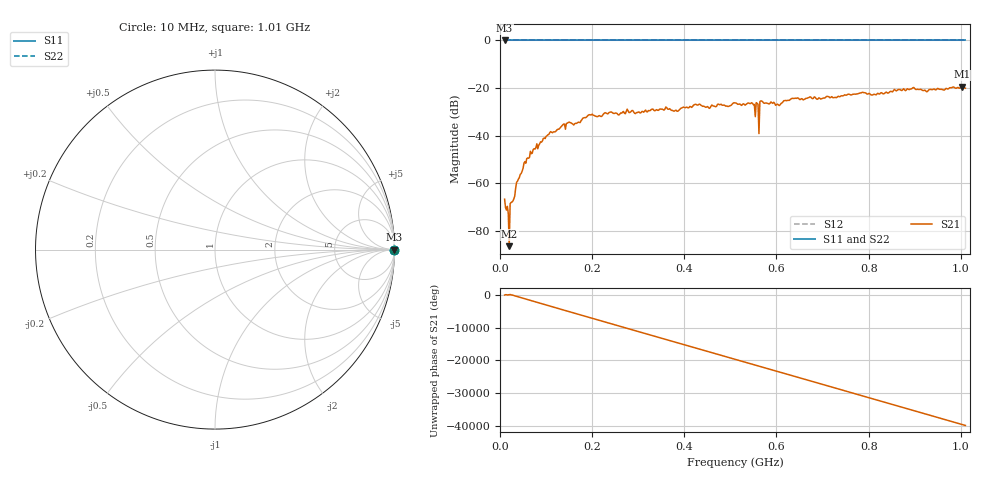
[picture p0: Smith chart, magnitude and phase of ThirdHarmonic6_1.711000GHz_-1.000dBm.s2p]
! 8/16/2025 8:35:03 PM
! C:\ANRITSUVNA\TEMP\TEMP.S2P
! CHANNEL.1
! TR.MEASUREMENT
! RAW.DATA
! RF.CORRECTION.OFF
! AVERAGING.OFF
! IF.BANDWIDTH: 5KHZ
! SWEEPTYPE:  FREQ.SWEEP(Linear)
! Reference Plane Port Info
! PORT:  PORT1  PORT2
! DISTANCE:  0  m  0  m
! TIME:  0  s  0  s
! PHASE.OFFSET:  0  deg.  0  deg.
! LOSS:  0  dB  0  dB
! REF.LOSS:  0  dB  0  dB
! REF.FREQ:  0  Hz  0  Hz
! Power Info
! POWER:  -20  dBm  -20  dBm
! EFF.POWER:  -20  dBm  -20  dBm
! SOURCE.ATTEN:  0  dB  0  dB
! TEST.ATTEN:  0  dB  0  dB
# GHZ S RI R 50.0
! FREQ.GHZ  S11RE  S11IM  S21RE  S21IM  S12RE  S12IM  S22RE  S22IM
!; PortSelection: Port_12
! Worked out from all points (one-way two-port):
!   501 points, 10 MHz to 1.01 GHz, reference 50 ohm
!   highest |S21| = -19.38 dB at 1.002 GHz (marker M1); lowest = -86.4 dB at 20 MHz (marker M2)
!   lowest |S11| = 0.0 dB at 10 MHz (marker M3)
!   |S11| at or under -10 dB: nowhere
!   |S22| runs from 0.0 to 0.0 dB; largest |S21 - S12| = 1.1
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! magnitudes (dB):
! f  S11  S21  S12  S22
! 10 MHz  0.0  -66.7  0.0  0.0
! 16 MHz  0.0  -69.7  0.0  0.0
! 20 MHz  0.0  -86.4  0.0  0.0
! 40 MHz  0.0  -58.2  0.0  0.0
! 56 MHz  0.0  -51.6  0.0  0.0
! 76 MHz  0.0  -45.7  0.0  0.0
! 136 MHz  0.0  -35.5  0.0  0.0
! 178 MHz  0.0  -33.2  0.0  0.0
! 196 MHz  0.0  -31.3  0.0  0.0
! 344 MHz  0.0  -29.4  0.0  0.0
! 510 MHz  0.0  -26.3  0.0  0.0
! 548 MHz  0.0  -26.4  0.0  0.0
! 556 MHz  0.0  -26.1  0.0  0.0
! 558 MHz  0.0  -26.4  0.0  0.0
! 566 MHz  0.0  -25.4  0.0  0.0
! 568 MHz  0.0  -25.4  0.0  0.0
! 602 MHz  0.0  -26.8  0.0  0.0
! 636 MHz  0.0  -24.4  0.0  0.0
! 678 MHz  0.0  -24.5  0.0  0.0
! 844 MHz  0.0  -21.9  0.0  0.0
! 1.002 GHz  0.0  -19.4  0.0  0.0
! 1.01 GHz  0.0  -20.1  0.0  0.0
